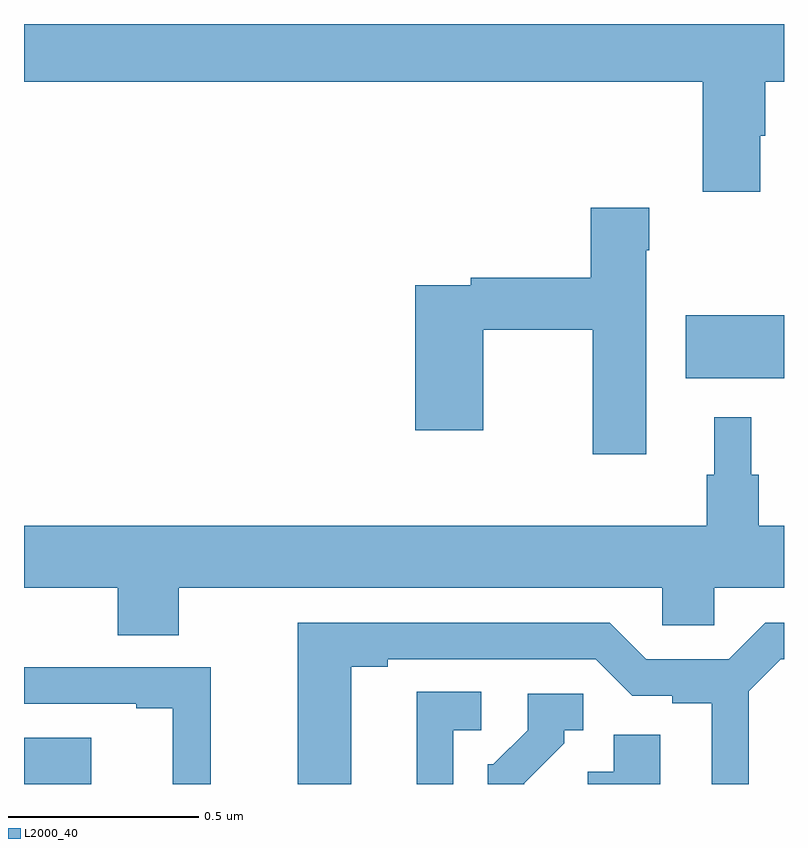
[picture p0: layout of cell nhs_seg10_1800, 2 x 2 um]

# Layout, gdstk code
import gdstk
lib = gdstk.Library(unit=1e-6, precision=1e-09)
def R(c, l, rs):  # rectangles x0, y0, x1, y1
    for r in rs: c.add(gdstk.rectangle(r[:2], r[2:], *l))
def P(c, l, *ps):  # polygons
    for p in ps: c.add(gdstk.Polygon(p, *l))
L2000_40 = (2000, 40)

nhs_seg10_1800 = lib.new_cell('nhs_seg10_1800')
R(nhs_seg10_1800, L2000_40, [(133,1266.5,133.177,1266.622), (134.742,1267.568,135,1267.734)])
P(nhs_seg10_1800, L2000_40, [(134.938,1268.206),(134.951,1268.206),(134.951,1268.348),(135,1268.348),(135,1268.5),(133,1268.5),(133,1268.348),(134.786,1268.348),(134.786,1268.058),(134.938,1268.058)],
  [(134.638,1267.904),(134.646,1267.904),(134.646,1268.017),(134.492,1268.017),(134.492,1267.832),(134.176,1267.832),(134.176,1267.812),(134.03,1267.812),(134.03,1267.431),(134.208,1267.431),(134.208,1267.696),(134.497,1267.696),(134.497,1267.368),(134.638,1267.368)],
  [(133.407,1267.016),(134.679,1267.016),(134.679,1266.918),(134.817,1266.918),(134.817,1267.016),(135,1267.016),(135,1267.18),(134.933,1267.18),(134.933,1267.314),(134.914,1267.314),(134.914,1267.465),(134.816,1267.465),(134.816,1267.314),(134.797,1267.314),(134.797,1267.18),(133,1267.18),(133,1267.016),(133.247,1267.016),(133.247,1266.892),(133.407,1266.892)],
  [(133.861,1266.808),(133.957,1266.808),(133.957,1266.828),(134.505,1266.828),(134.601,1266.732),(134.706,1266.732),(134.706,1266.712),(134.81,1266.712),(134.81,1266.5),(134.907,1266.5),(134.907,1266.744),(134.991,1266.828),(135,1266.828),(135,1266.924),(134.951,1266.924),(134.855,1266.828),(134.637,1266.828),(134.541,1266.924),(133.721,1266.924),(133.721,1266.5),(133.861,1266.5)],
  [(133.491,1266.807),(133,1266.807),(133,1266.711),(133.295,1266.711),(133.295,1266.699),(133.391,1266.699),(133.391,1266.5),(133.491,1266.5)],
  [(134.13,1266.642),(134.203,1266.642),(134.203,1266.743),(134.033,1266.743),(134.033,1266.5),(134.13,1266.5)],
  [(134.317,1266.502),(134.422,1266.607),(134.422,1266.642),(134.472,1266.642),(134.472,1266.738),(134.325,1266.738),(134.325,1266.642),(134.235,1266.552),(134.22,1266.552),(134.22,1266.5),(134.317,1266.5)],
  [(134.674,1266.63),(134.552,1266.63),(134.552,1266.532),(134.483,1266.532),(134.483,1266.5),(134.674,1266.5)])

lib.write_gds('nhs_seg10_1800.gds')
